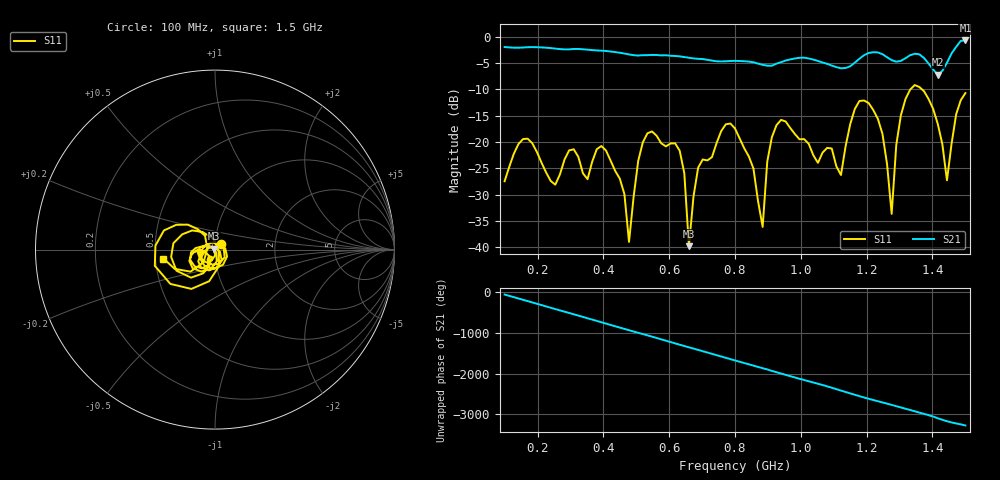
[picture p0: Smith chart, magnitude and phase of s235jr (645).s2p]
! NanoVNA-App
! Date: 2025-09-25 15:09:11
! Start: 100MHz Stop: 1,5GHz Points: 101
! S-Parameter data: F S11 S21 S12 S22
# Hz S RI R 50
!  Frequency  S11_Real  S11_Imag  S21_Real  S21_Imag  S12_Real  S12_Imag  S22_Real  S22_Imag
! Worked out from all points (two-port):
!   101 points, 100 MHz to 1.5 GHz, reference 50 ohm
!   highest |S21| = -0.71 dB at 1.5 GHz (marker M1); lowest = -7.2 dB at 1.416 GHz (marker M2)
!   |S21| within 3 dB of the highest: start of sweep to 627.1 MHz; 1.188 GHz to 1.257 GHz (69.43 MHz wide, 5.68 % of centre) (the widest 2 of 4)
!   lowest |S11| = -39.8 dB at 660 MHz (marker M3), VSWR 1.02, Z = 49.2 + j0.597 ohm
!   |S11| at or under -10 dB: start of sweep to 1.333 GHz; 1.368 GHz to end of sweep
!   S12 and S22 are empty: the file has one direction only
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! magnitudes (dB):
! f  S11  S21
! 100 MHz  -27.5  -2.0
! 156 MHz  -19.5  -2.1
! 338 MHz  -26.0  -2.4
! 408 MHz  -21.6  -2.7
! 478 MHz  -39.0  -3.4
! 520 MHz  -20.1  -3.5
! 576 MHz  -20.3  -3.6
! 632 MHz  -21.7  -3.7
! 660 MHz  -39.8  -4.0
! 688 MHz  -24.9  -4.2
! 800 MHz  -17.4  -4.6
! 884 MHz  -36.2  -5.3
! 926 MHz  -16.8  -5.1
! 1.038 GHz  -22.5  -4.4
! 1.122 GHz  -26.3  -6.0
! 1.206 GHz  -12.6  -3.1
! 1.276 GHz  -33.7  -4.5
! 1.29 GHz  -20.6  -4.7
! 1.332 GHz  -10.1  -3.5
! 1.416 GHz  -16.6  -7.2
! 1.444 GHz  -27.3  -5.0
! 1.5 GHz  -10.7  -0.7
